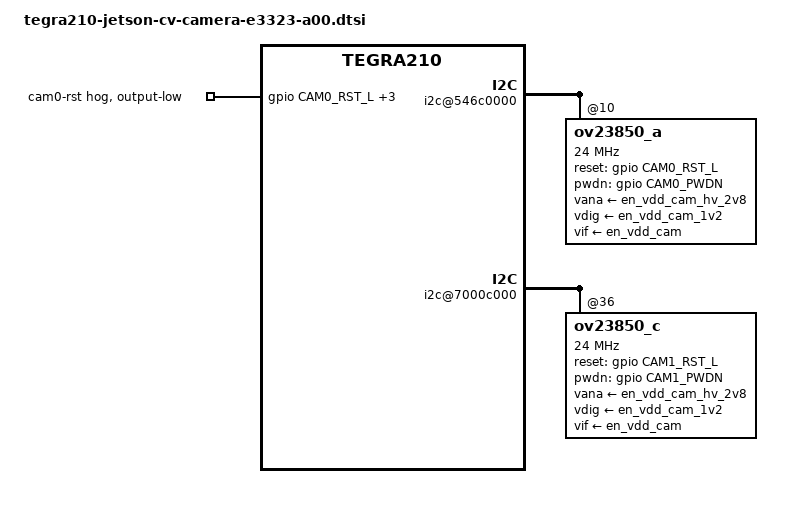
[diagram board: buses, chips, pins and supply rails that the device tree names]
/*
 * Copyright (c) 2015-2019, NVIDIA CORPORATION.  All rights reserved.
 *
 * This program is free software; you can redistribute it and/or modify
 * it under the terms of the GNU General Public License as published by
 * the Free Software Foundation; either version 2 of the License, or
 * (at your option) any later version.
 *
 * This program is distributed in the hope that it will be useful, but WITHOUT
 * ANY WARRANTY; without even the implied warranty of MERCHANTABILITY or
 * FITNESS FOR A PARTICULAR PURPOSE.  See the GNU General Public License for
 * more details.
 *
 * You should have received a copy of the GNU General Public License
 * along with this program.  If not, see <http://www.gnu.org/licenses/>.
 */

#include "tegra210-camera-e3323-a00.dtsi"

#define CAM0_RST_L	TEGRA_GPIO(S, 4)
#define CAM0_PWDN		TEGRA_GPIO(S, 7)
#define CAM1_RST_L	TEGRA_GPIO(S, 5)
#define CAM1_PWDN		TEGRA_GPIO(T, 0)
/* CAM2_RST  TCA9539 - P10 */
/* CAM2_PWDN  TCA9539 - P07 */
/* CAM_AF_PWDN  TCA9539 - P13 */

/* camera control gpio definitions */

/ {
	host1x {
		i2c@546c0000 {
			ov23850_a@10 {
				/* Define any required hw resources needed by driver */
				/* ie. clocks, io pins, power sources */
				clocks = <&tegra_car TEGRA210_CLK_CLK_OUT_3>;
				clock-names = "clk_out_3";
				clock-frequency = <24000000>;
				mclk = "clk_out_3";
				reset-gpios = <&gpio CAM0_RST_L GPIO_ACTIVE_HIGH>;   //also for VCM_2V8 en
				pwdn-gpios = <&gpio CAM0_PWDN GPIO_ACTIVE_HIGH>;
				vana-supply = <&en_vdd_cam_hv_2v8>;
				vdig-supply = <&en_vdd_cam_1v2>;
				vif-supply = <&en_vdd_cam>;
			};
		};
	};

	i2c@7000c000 {
		ov23850_c@36 {
			/* Define any required hw resources needed by driver */
			/* ie. clocks, io pins, power sources */
			clocks = <&tegra_car TEGRA210_CLK_CLK_OUT_3>;
			clock-names = "clk_out_3";
			clock-frequency = <24000000>;
			mclk = "clk_out_3";
			reset-gpios = <&gpio CAM1_RST_L GPIO_ACTIVE_HIGH>;   //also for VCM_2V8 en
			pwdn-gpios = <&gpio CAM1_PWDN GPIO_ACTIVE_HIGH>;
			vana-supply = <&en_vdd_cam_hv_2v8>;
			vdig-supply = <&en_vdd_cam_1v2>;
			vif-supply = <&en_vdd_cam>;
		};
	};

	gpio: gpio@6000d000 {
		camera-control-output-low {
			gpio-hog;
			output-low;
			gpios = <
				CAM0_RST_L 0
				CAM0_PWDN 0
				CAM1_RST_L 0
				CAM1_PWDN 0
				>;
			label = "cam0-rst", "cam0-pwdn", "cam1-rst", "cam1-pwdn";
		};
	};
};
